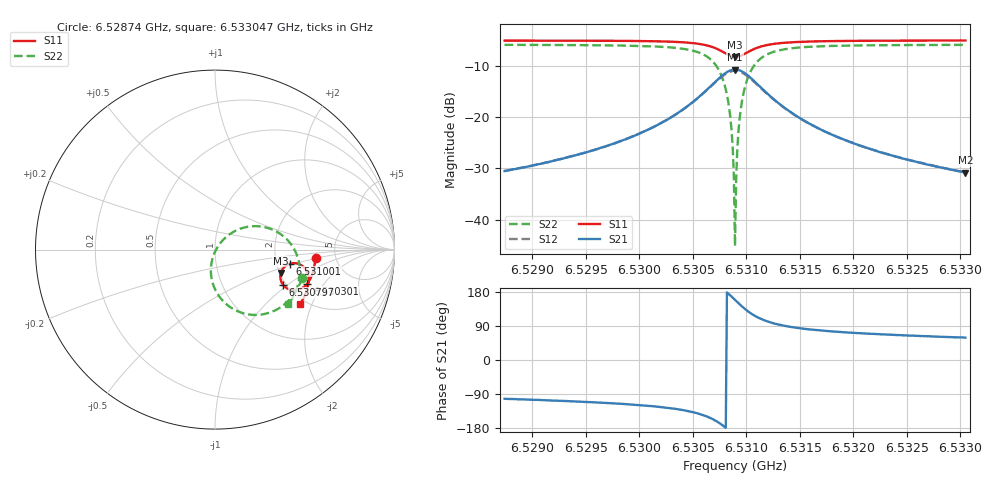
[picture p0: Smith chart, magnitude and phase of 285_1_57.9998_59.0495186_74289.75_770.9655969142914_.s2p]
#  HZ  S  RI  R  50.00
! Rohde & Schwarz Vector Network Analyzer
! Rohde-Schwarz,ZNB20-2Port,1311601062101988,3.16
! Created: UTC 3/21/2024, 1:03:02 AM
! freq[Hz]  re:S11  im:S11  re:S21  im:S21  re:S12  im:S12  re:S22  im:S22
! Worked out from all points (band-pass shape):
!   401 points, 6.52874 GHz to 6.533047 GHz, reference 50 ohm
!   highest |S21| = -10.66 dB at 6.530894 GHz (marker M1); lowest = -30.8 dB at 6.533047 GHz (marker M2)
!   |S21| within 3 dB of the highest: 6.530679 GHz to 6.531109 GHz (430.7 kHz wide, 0.00659 % of centre)
!   lowest |S11| = -8.2 dB at 6.530894 GHz (marker M3), VSWR 2.28, Z = 102 - j31.1 ohm
!   |S11| at or under -10 dB: nowhere
!   |S22| runs from -45.2 to -5.8 dB; largest |S21 - S12| = 0.011
!   S11 on the Smith chart (normalised r, x): 6.52874 GHz: 3.50, -0.46; 6.530301 GHz: 2.58, -1.40; 6.530797 GHz: 1.93, -0.92; 6.531001 GHz: 2.38, -0.45; 6.533047 GHz: 1.86, -1.65
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6.5287398e9  0.5601 -0.0451  -0.00634 -0.0291  -0.00689 -0.029  0.486 -0.1569
6.5294613e9  0.551 -0.1047  -0.0153 -0.0413  -0.0162 -0.0413  0.4566 -0.222
6.5301829e9  0.5244 -0.1754  -0.0473 -0.0713  -0.0492 -0.0699  0.3783 -0.3121
6.5303013e9  0.5145 -0.1894  -0.0613 -0.0798  -0.0636 -0.0781  0.3492 -0.3314
6.5306459e9  0.4449 -0.2271  -0.1681 -0.0936  -0.1698 -0.0868  0.1498 -0.3524
6.5307321e9  0.4078 -0.2196  -0.2247 -0.0665  -0.2236 -0.0573  0.0557 -0.2975
6.5307967e9  0.3792 -0.196  -0.2665 -0.0161  -0.2614 -0.00681  -0.0061 -0.2061
6.5308398e9  0.3665 -0.1695  -0.282 0.0345  -0.2739 0.042  -0.0231 -0.1198
6.5308613e9  0.3641 -0.1539  -0.2828 0.0631  -0.2735 0.0695  -0.0191 -0.0726
6.5308721e9  0.3643 -0.1457  -0.281 0.0779  -0.2712 0.0833  -0.0136 -0.049
6.5308829e9  0.3652 -0.1377  -0.2777 0.0924  -0.2677 0.0969  -0.00598 -0.0259
6.5308936e9  0.3671 -0.1297  -0.273 0.1066  -0.2628 0.1103  0.00429 -0.00342
6.5309044e9  0.3698 -0.122  -0.267 0.1202  -0.2568 0.123  0.0166 0.0178
6.5309152e9  0.3733 -0.1145  -0.2596 0.1333  -0.2495 0.1351  0.0307 0.0377
6.5309259e9  0.3776 -0.1077  -0.2511 0.1452  -0.241 0.1463  0.0468 0.0558
6.5309475e9  0.388 -0.0957  -0.2312 0.1662  -0.2218 0.1656  0.083 0.0864
6.5310013e9  0.4196 -0.078  -0.1735 0.1969  -0.1671 0.1946  0.1828 0.1272
6.5310767e9  0.4607 -0.0781  -0.1015 0.1995  -0.0981 0.1968  0.3035 0.1176
6.5311844e9  0.4966 -0.0998  -0.0394 0.1702  -0.0378 0.1687  0.4037 0.0536
6.5316152e9  0.5217 -0.1784  0.0146 0.0825  0.0156 0.0821  0.4726 -0.1309
6.5323367e9  0.5025 -0.2506  0.0168 0.0395  0.0176 0.0393  0.4443 -0.245
6.5330475e9  0.4755 -0.3032  0.0148 0.0246  0.0153 0.0246  0.4092 -0.3053
